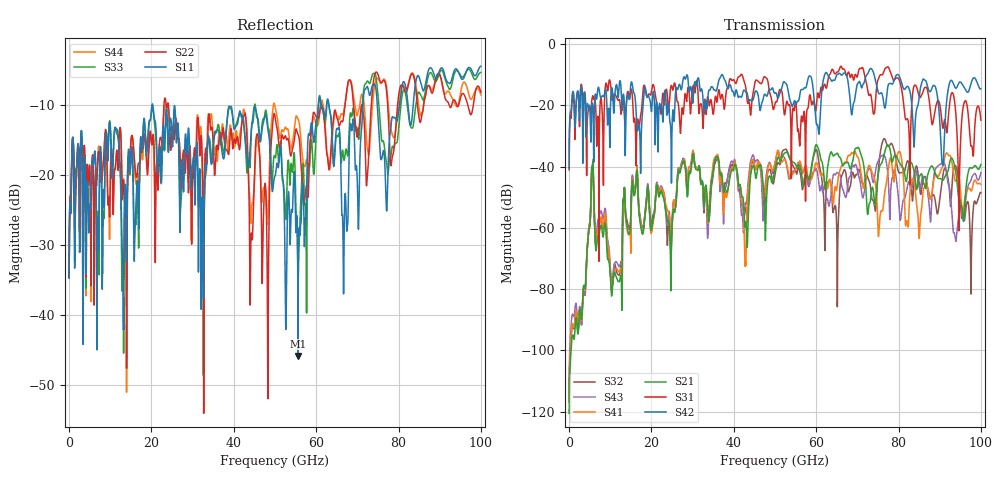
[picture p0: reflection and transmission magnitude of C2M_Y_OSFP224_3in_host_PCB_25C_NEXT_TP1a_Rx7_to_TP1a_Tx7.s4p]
# GHz S RI R 45
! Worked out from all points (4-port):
!   4000 points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, 25 MHz to 100 GHz, reference 45 ohm
!   strongest paths, dB at 25 MHz, 25.02 GHz, 50.02 GHz, 75.03 GHz, 100 GHz:
!     S42: -40.4, -26.7, -15.9, -15.6, -14.6
!     S31: -41.0, -14.0, -19.3, -11.6, -24.8
!     S21: -120.6, -59.1, -40.8, -43.0, -39.3
!     S41: -116.7, -57.4, -38.7, -60.4, -45.8
!     S43: -113.4, -57.1, -38.7, -38.3, -42.0
!     S32: -116.8, -59.4, -42.5, -42.5, -48.5
!   lowest |S11| = -45.8 dB at 55.6 GHz (marker M1), VSWR 1.01, Z = 45.4 + j0.193 ohm
!   |S11| at or under -10 dB: start of sweep to 20.12 GHz; 20.36 GHz to 60.53 GHz (40.17 GHz wide, 99.3 % of centre); 63.11 GHz to 71.36 GHz (8.251 GHz wide, 12.3 % of centre) (the widest 3 of 6)
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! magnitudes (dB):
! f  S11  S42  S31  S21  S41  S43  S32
! 25 MHz  -34.7  -40.4  -41.0  -120.6  -116.7  -113.4  -116.8
! 3.675 GHz  -18.0  -15.8  -16.5  -78.9  -79.6  -80.8  -79.7
! 5.65 GHz  -17.8  -19.2  -17.4  -41.1  -40.9  -40.6  -40.8
! 10.5 GHz  -20.5  -14.8  -18.3  -80.5  -79.0  -78.2  -79.3
! 16.2 GHz  -25.3  -19.9  -32.3  -46.6  -45.8  -45.1  -45.9
! 55.6 GHz  -45.8  -18.7  -27.8  -39.5  -38.9  -38.6  -40.3
! 100 GHz  -4.4  -14.6  -24.8  -39.3  -45.8  -42.0  -48.5
